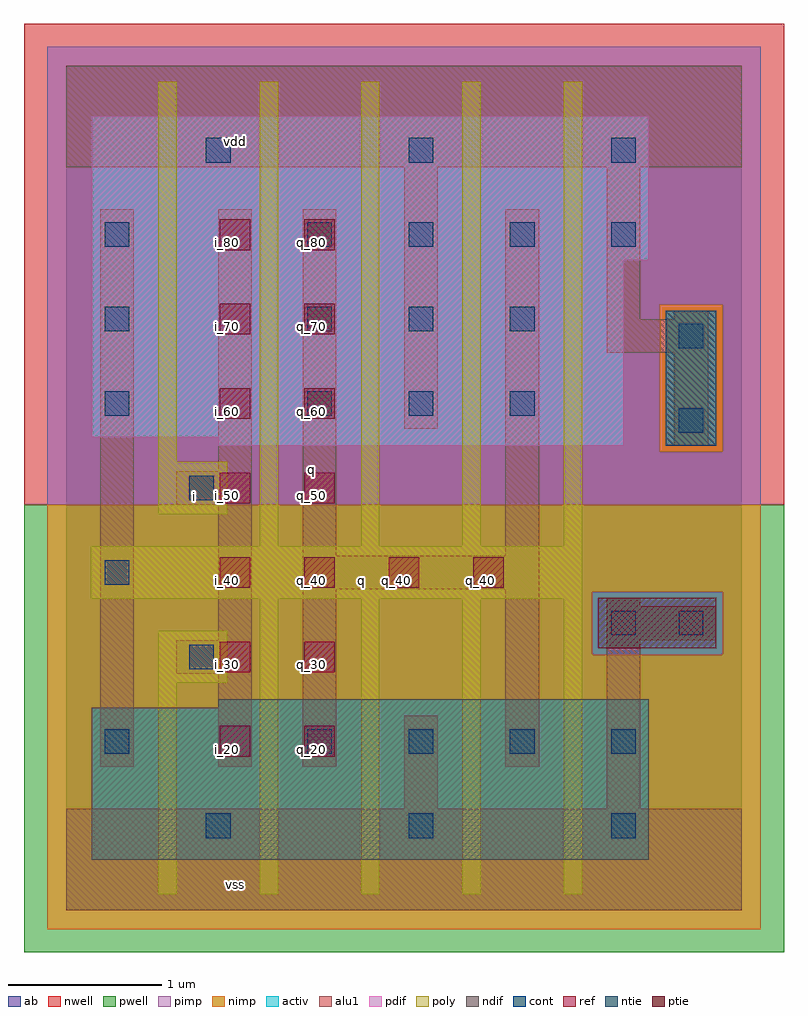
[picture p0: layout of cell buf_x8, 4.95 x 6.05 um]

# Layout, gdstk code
import gdstk
lib = gdstk.Library(unit=1e-6, precision=2.5e-09)
def R(c, l, rs):  # rectangles x0, y0, x1, y1
    for r in rs: c.add(gdstk.rectangle(r[:2], r[2:], *l))
def A(c, l, x, y, w, h, nx, ny, dx, dy):  # array of equal rectangles
    R(c, l, [(x+i*dx, y+j*dy, x+i*dx+w, y+j*dy+h) for i in range(nx) for j in range(ny)])
ndif = (3, 0)
pdif = (4, 0)
ntie = (5, 0)
ptie = (6, 0)
ref = (24, 0)
cont = (25, 0)
pwell = (41, 0)
nwell = (42, 0)
activ = (43, 0)
pimp = (44, 0)
nimp = (45, 0)
poly = (46, 0)
alu1 = (49, 0)
ab = (63, 0)

buf_x8 = lib.new_cell('buf_x8')
R(buf_x8, ndif, [(0.165,0.33,3.795,1.32), (0.99,1.32,3.795,1.375)])
R(buf_x8, pdif, [(0.99,3.025,3.63,3.08), (0.165,3.08,3.63,4.235), (0.165,4.235,3.795,5.17)])
R(buf_x8, ntie, [(3.905,3.025,4.235,3.905)])
R(buf_x8, ptie, [(3.465,1.705,4.235,2.035)])
A(buf_x8, ref, 1, 2.1, 0.2, 0.2, 4, 1, 0.55, 0)
A(buf_x8, ref, 1, 2.65, 0.2, 0.2, 1, 4, 0, 0.55)
A(buf_x8, ref, 1.55, 2.65, 0.2, 0.2, 1, 4, 0, 0.55)
R(buf_x8, ref, [(1,1,1.2,1.2), (1.55,1,1.75,1.2), (1,1.55,1.2,1.75), (1.55,1.55,1.75,1.75)])
A(buf_x8, cont, 0.91, 0.47, 0.16, 0.16, 3, 2, 1.32, 4.4)
A(buf_x8, cont, 0.25, 1.02, 0.16, 0.16, 1, 3, 0, 1.1)
A(buf_x8, cont, 1.57, 1.02, 0.16, 0.16, 4, 2, 0.66, 3.3)
A(buf_x8, cont, 1.57, 3.22, 0.16, 0.16, 3, 2, 0.66, 0.55)
R(buf_x8, cont, [(0.8,1.57,0.96,1.73), (3.55,1.79,3.71,1.95), (3.99,1.79,4.15,1.95), (0.8,2.67,0.96,2.83), (3.99,3.11,4.15,3.27), (3.99,3.66,4.15,3.82), (0.25,3.77,0.41,3.93), (0.25,4.32,0.41,4.48)])
R(buf_x8, pwell, [(-0.275,-0.275,4.675,2.64)])
R(buf_x8, nwell, [(-0.275,2.64,4.675,5.775)])
R(buf_x8, activ, [(0.165,0.33,3.795,1.32), (0.99,1.32,3.795,1.375), (3.465,1.705,4.235,2.035), (0.99,3.025,3.63,3.08), (3.905,3.025,4.235,3.905), (0.165,3.08,3.63,4.235), (0.165,4.235,3.795,5.17)])
R(buf_x8, pimp, [(3.425,1.665,4.275,2.075), (-0.125,2.64,4.525,2.985), (-0.125,2.985,3.865,3.945), (4.275,2.985,4.525,3.945), (-0.125,3.945,4.525,5.625)])
R(buf_x8, nimp, [(-0.125,-0.125,4.525,1.665), (-0.125,1.665,3.425,2.075), (4.275,1.665,4.525,2.075), (-0.125,2.075,4.525,2.64), (3.865,2.985,4.275,3.945)])
A(buf_x8, poly, 1.26, 0.105, 0.12, 1.925, 4, 1, 0.66, 0)
A(buf_x8, poly, 1.26, 2.37, 0.12, 3.025, 4, 1, 0.66, 0)
R(buf_x8, poly, [(0.6,0.105,0.72,1.48), (0.6,1.48,1.05,1.82), (0.16,2.03,3.36,2.37), (0.6,2.58,1.05,2.92), (0.6,2.92,0.72,5.395)])
R(buf_x8, alu1, [(0,0,4.4,0.66), (2.2,0.66,2.42,1.265), (3.52,0.66,3.74,1.76), (0.22,0.935,0.44,4.565), (0.99,0.935,1.21,1.54), (1.54,0.935,1.76,2.09), (2.86,0.935,3.08,2.09), (0.715,1.54,1.21,1.76), (0.99,1.76,1.21,2.64), (3.52,1.76,4.235,1.98), (3.52,1.98,3.74,2.035), (1.54,2.09,3.08,2.31), (1.54,2.31,1.76,4.565), (2.86,2.31,3.08,4.565), (0.715,2.64,1.21,2.86), (0.99,2.86,1.21,4.565), (3.96,3.025,4.18,3.63), (2.2,3.135,2.42,4.84), (3.52,3.63,4.18,3.85), (3.52,3.85,3.74,4.84), (3.96,3.85,4.18,3.905), (0,4.84,4.4,5.5)])
R(buf_x8, ab, [(0,0,4.4,5.5)])
buf_x8.add(gdstk.Label('vss', (1.1,0.165), layer=49, texttype=0))
buf_x8.add(gdstk.Label('q', (1.925,2.145), layer=49, texttype=0))
buf_x8.add(gdstk.Label('q', (1.595,2.8725), layer=49, texttype=0))
buf_x8.add(gdstk.Label('i', (0.8375,2.695), layer=49, texttype=0))
buf_x8.add(gdstk.Label('vdd', (1.1,5.005), layer=49, texttype=0))
buf_x8.add(gdstk.Label('q_40', (2.15,2.15), layer=24, texttype=0))
buf_x8.add(gdstk.Label('q_40', (2.7,2.15), layer=24, texttype=0))
buf_x8.add(gdstk.Label('q_40', (1.6,2.15), layer=24, texttype=0))
buf_x8.add(gdstk.Label('q_60', (1.6,3.25), layer=24, texttype=0))
buf_x8.add(gdstk.Label('q_70', (1.6,3.8), layer=24, texttype=0))
buf_x8.add(gdstk.Label('q_80', (1.6,4.35), layer=24, texttype=0))
buf_x8.add(gdstk.Label('q_20', (1.6,1.05), layer=24, texttype=0))
buf_x8.add(gdstk.Label('q_50', (1.6,2.7), layer=24, texttype=0))
buf_x8.add(gdstk.Label('q_30', (1.6,1.6), layer=24, texttype=0))
buf_x8.add(gdstk.Label('i_20', (1.05,1.05), layer=24, texttype=0))
buf_x8.add(gdstk.Label('i_30', (1.05,1.6), layer=24, texttype=0))
buf_x8.add(gdstk.Label('i_80', (1.05,4.35), layer=24, texttype=0))
buf_x8.add(gdstk.Label('i_70', (1.05,3.8), layer=24, texttype=0))
buf_x8.add(gdstk.Label('i_60', (1.05,3.25), layer=24, texttype=0))
buf_x8.add(gdstk.Label('i_50', (1.05,2.7), layer=24, texttype=0))
buf_x8.add(gdstk.Label('i_40', (1.05,2.15), layer=24, texttype=0))

lib.write_gds('buf_x8.gds')
